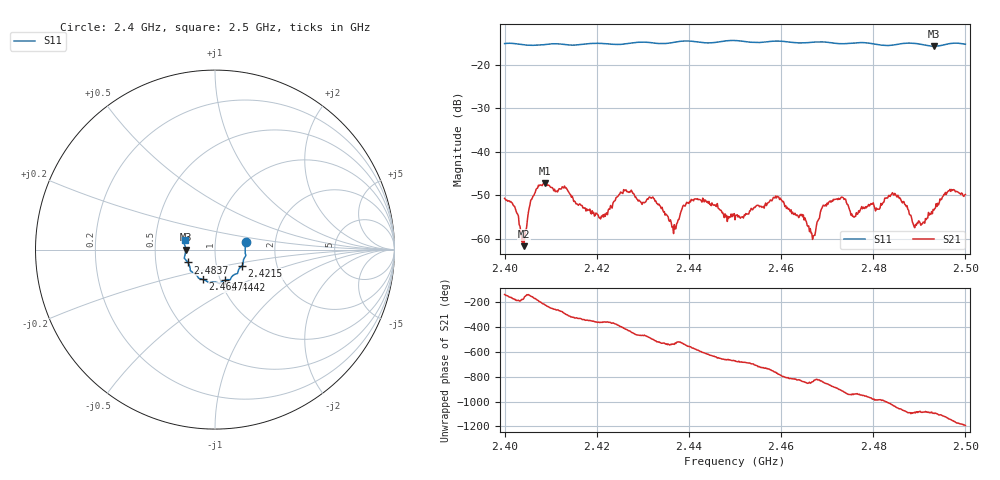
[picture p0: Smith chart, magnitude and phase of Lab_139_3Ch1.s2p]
# Hz S RI R 50
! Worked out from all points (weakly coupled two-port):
!   601 points, 2.4 GHz to 2.5 GHz, reference 50 ohm
!   highest |S21| = -47.20 dB at 2.4087 GHz (marker M1); lowest = -61.7 dB at 2.4042 GHz (marker M2)
!   lowest |S11| = -15.7 dB at 2.4932 GHz (marker M3), VSWR 1.39, Z = 35.9 - j0.0572 ohm
!   |S11| at or under -10 dB: start of sweep to end of sweep
!   S12 and S22 are empty: the file has one direction only
!   S11 on the Smith chart (normalised r, x): 2.4 GHz: 1.41, +0.12; 2.4215 GHz: 1.33, -0.25; 2.4442 GHz: 1.05, -0.37; 2.4647 GHz: 0.83, -0.28; 2.4837 GHz: 0.73, -0.11; 2.5 GHz: 0.71, +0.08
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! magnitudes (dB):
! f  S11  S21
! 2.4 GHz  -15.1  -50.7
! 2.4042 GHz  -15.4  -61.7
! 2.406 GHz  -15.5  -50.6
! 2.4087 GHz  -15.3  -47.2
! 2.4167 GHz  -15.3  -52.3
! 2.4215 GHz  -15.1  -55.0
! 2.4263 GHz  -15.2  -48.7
! 2.4333 GHz  -15.1  -52.2
! 2.4368 GHz  -14.8  -56.8
! 2.4392 GHz  -14.5  -52.5
! 2.4442 GHz  -15.0  -51.8
! 2.45 GHz  -14.4  -55.6
! 2.459 GHz  -14.5  -50.6
! 2.4647 GHz  -15.0  -54.9
! 2.4667 GHz  -14.8  -58.7
! 2.4708 GHz  -14.9  -51.6
! 2.4757 GHz  -15.0  -54.8
! 2.4833 GHz  -15.5  -50.1
! 2.4837 GHz  -15.5  -50.3
! 2.489 GHz  -15.1  -57.5
! 2.4932 GHz  -15.7  -53.4
! 2.5 GHz  -15.3  -49.8
